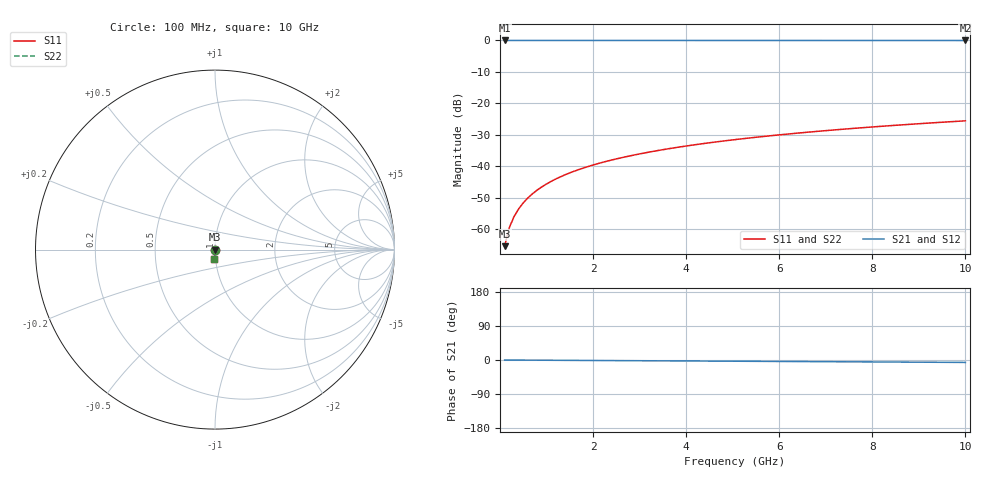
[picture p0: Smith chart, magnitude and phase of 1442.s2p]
# Hz S RI R 50.00
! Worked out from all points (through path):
!   100 points, 100 MHz to 10 GHz, reference 50 ohm
!   highest |S21| = 0.00 dB at 100 MHz (marker M1); lowest = 0.0 dB at 10 GHz (marker M2)
!   lowest |S11| = -65.4 dB at 100 MHz (marker M3), VSWR 1.00, Z = 50 - j0.0523 ohm
!   |S11| at or under -10 dB: start of sweep to end of sweep
!   |S22| runs from -65.4 to -25.5 dB; largest |S21 - S12| = 0
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1e8  0.000124 -0.000523  0.9999 -0.0011  0.9999 -0.0011  0.000124 -0.000523
2e8  0.000122 -0.00105  0.9999 -0.00221  0.9999 -0.00221  0.000122 -0.00105
3e8  0.000119 -0.00157  0.9999 -0.00331  0.9999 -0.00331  0.000119 -0.00157
4e8  0.000115 -0.00209  0.9999 -0.00442  0.9999 -0.00442  0.000115 -0.00209
5e8  0.000109 -0.00262  0.9998 -0.00552  0.9998 -0.00552  0.000109 -0.00262
6e8  0.000103 -0.00314  0.9998 -0.00663  0.9998 -0.00663  0.000103 -0.00314
7e8  9.46e-05 -0.00366  0.9998 -0.00774  0.9998 -0.00774  9.46e-05 -0.00366
8e8  8.55e-05 -0.00419  0.9998 -0.00884  0.9998 -0.00884  8.55e-05 -0.00419
9e8  7.52e-05 -0.00471  0.9998 -0.00995  0.9998 -0.00995  7.52e-05 -0.00471
1.1e9  5.1e-05 -0.00576  0.9998 -0.0122  0.9998 -0.0122  5.1e-05 -0.00576
1.4e9  6.02e-06 -0.00733  0.9997 -0.0155  0.9997 -0.0155  6.02e-06 -0.00733
1.8e9  -7.04e-05 -0.00942  0.9996 -0.0199  0.9996 -0.0199  -7.04e-05 -0.00942
2.1e9  -0.00014 -0.011  0.9995 -0.0232  0.9995 -0.0232  -0.00014 -0.011
2.5e9  -0.000249 -0.0131  0.9994 -0.0277  0.9994 -0.0277  -0.000249 -0.0131
2.9e9  -0.000377 -0.0152  0.9992 -0.0321  0.9992 -0.0321  -0.000377 -0.0152
3.4e9  -0.000564 -0.0178  0.999 -0.0376  0.999 -0.0376  -0.000564 -0.0178
4.2e9  -0.000924 -0.022  0.9985 -0.0465  0.9985 -0.0465  -0.000924 -0.022
5.1e9  -0.00142 -0.0268  0.9979 -0.0565  0.9979 -0.0565  -0.00142 -0.0268
5.9e9  -0.00194 -0.031  0.9972 -0.0654  0.9972 -0.0654  -0.00194 -0.031
6.7e9  -0.00254 -0.0352  0.9964 -0.0744  0.9964 -0.0744  -0.00254 -0.0352
8.4e9  -0.00406 -0.0441  0.9944 -0.0933  0.9944 -0.0933  -0.00406 -0.0441
1e10  -0.00581 -0.0525  0.9922 -0.1112  0.9922 -0.1112  -0.00581 -0.0525
